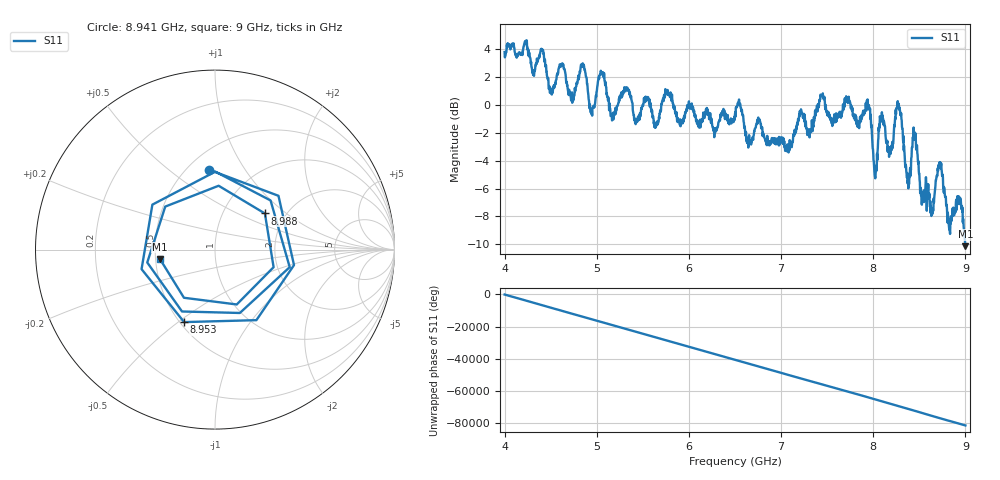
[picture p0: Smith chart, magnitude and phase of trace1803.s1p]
! Created with skrf 1.8.0 (http://scikit-rf.org).
# Hz S RI R 50.0
!freq ReS11 ImS11
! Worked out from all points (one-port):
!   1601 points, 4 GHz to 9 GHz, reference 50 ohm
!   lowest |S11| = -10.1 dB at 9 GHz (marker M1), VSWR 1.90, Z = 26.4 - j3.03 ohm
!   |S11| at or under -10 dB: 8.998157 GHz to end of sweep
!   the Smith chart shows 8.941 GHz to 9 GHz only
!   S11 on the Smith chart (normalised r, x): 8.941 GHz: 0.63, +0.70; 8.953 GHz: 0.53, -0.53; 8.988 GHz: 1.57, +0.72; 9 GHz: 0.53, -0.06
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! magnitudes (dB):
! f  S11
! 4 GHz  3.8
! 4.406 GHz  3.9
! 4.503 GHz  0.8
! 4.625 GHz  2.8
! 4.734 GHz  0.2
! 4.853 GHz  2.9
! 4.944 GHz  -0.7
! 5.056 GHz  2.3
! 5.25 GHz  0.5
! 5.875 GHz  -1.1
! 6.5 GHz  -0.6
! 7.125 GHz  -2.7
! 7.75 GHz  0.2
! 7.944 GHz  -0.1
! 8.022 GHz  -5.3
! 8.084 GHz  -0.9
! 8.188 GHz  -3.5
! 8.278 GHz  0.0
! 8.375 GHz  -5.5
! 8.45 GHz  -2.1
! 8.534 GHz  -6.8
! 8.638 GHz  -7.7
! 8.722 GHz  -4.3
! 8.828 GHz  -8.9
! 8.941 GHz  -7.0
! 8.953 GHz  -7.2
! 8.988 GHz  -9.3
! 9 GHz  -10.1
